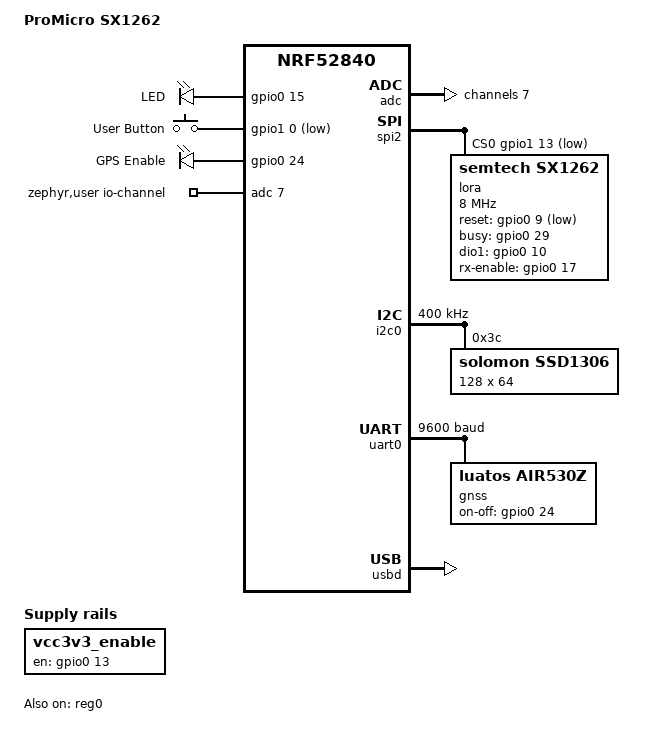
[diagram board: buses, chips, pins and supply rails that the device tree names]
/*
 * ProMicro SX1262 — nRF52840 SuperMini + SX1262 (generic; see board.conf)
 * Copyright (c) 2025 ZephCore
 *
 * SPDX-License-Identifier: MIT
 *
 * Hardware:
 * - nRF52840 (SuperMini/ProMicro form factor) with BLE 5
 * - SX1262 module: E22-900M30S (30dB PA) or a bare HT-RA62 / E22-900M22S;
 *   TCXO, DIO2=TXEN, RXEN on P0.17. TX power differs — see board.conf
 * - GPS module on UART0 (9600 baud, P0.22 RX, P0.20 TX)
 * - Battery ADC on AIN7 (P0.31), 150K+150K divider (2:1)
 * - User button on P1.00, LED on P0.15
 * - Optional SSD1306 128x64 OLED on I2C0 @ 0x3c (SDA P1.04, SCL P0.11)
 * - No 32.768 kHz crystal fitted — LFCLK runs the calibrated RC (&lfclk below;
 *   rationale in board.conf)
 * - 3V3 enable on P0.13 (must be HIGH for SX1262 to function)
 */

/dts-v1/;
#include <nordic/nrf52840_qiaa.dtsi>
#include "promicro_sx1262-pinctrl.dtsi"
#include <zephyr/dt-bindings/adc/nrf-saadc.h>
#include <zephyr/dt-bindings/input/input-event-codes.h>
#include <zephyr/dt-bindings/lora/sx126x.h>

/ {
	model = "ProMicro SX1262";
	compatible = "zephcore,promicro-sx1262";

	chosen {
		zephyr,sram = &sram0;
		zephyr,flash = &flash0;
		zephyr,code-partition = &code_partition;
		zephyr,console = &cdc_acm_uart;
		zephyr,shell-uart = &cdc_acm_uart;
		zephyr,display = &ssd1306;
	};

	aliases {
		lora0 = &lora;
		led0 = &led0;
		sw0 = &user_button;
		watchdog0 = &wdt0;
		gps-enable = &gps_enable_pin;
	};

	leds {
		compatible = "gpio-leds";
		led0: led_0 {
			gpios = <&gpio0 15 GPIO_ACTIVE_HIGH>;
			label = "LED";
		};
	};

	buttons: buttons {
		compatible = "gpio-keys";
		user_button: button_0 {
			gpios = <&gpio1 0 (GPIO_PULL_UP | GPIO_ACTIVE_LOW)>;
			zephyr,code = <INPUT_KEY_ENTER>;
			label = "User Button";
		};
	};

	/* 3V3 enable — must be HIGH to power E22-900M30S module */
	vcc3v3_enable: vcc3v3-enable {
		compatible = "regulator-fixed";
		regulator-name = "vcc3v3-enable";
		enable-gpios = <&gpio0 13 GPIO_ACTIVE_HIGH>;
		regulator-boot-on;
		/* Documents the module's requirement, but do not rely on it:
		 * regulator-boot-on sends regulator_common_init() down the
		 * refcount-only branch, so regulator_delay() never runs and this
		 * value is inert. The real settle time comes from the SX126x driver's
		 * own reset (5 ms NRESET pulse + 5 ms wait + BUSY poll) before any
		 * SPI traffic, at LORA_INIT_PRIORITY 90 against this rail's 75.
		 * Anything put behind this rail that does NOT reset-then-wait needs
		 * zephyr,deferred-init instead; see meshtracker_x1's i2c0. */
		startup-delay-us = <5000>;
	};

	/* GPS power control */
	gps_en: gps-enable {
		compatible = "gpio-leds";
		gps_enable_pin: gps_enable {
			gpios = <&gpio0 24 GPIO_ACTIVE_HIGH>;
			label = "GPS Enable";
		};
	};

	/* Battery ADC: P0.31 (AIN7), 2:1 voltage devider, 3.6V ref */
	zephyr,user {
		io-channels = <&adc 7>;
		vbat-mv-multiplier = <7236>;  /* 2:1 divider, 3.6V ref; +0.5% for nRF SAADC gain error */
	};
};

&reg0 {
	status = "okay";
};

&reg1 {
	regulator-initial-mode = <NRF5X_REG_MODE_DCDC>;
};

&uicr {
	nfct-pins-as-gpios;
};

&gpiote {
	status = "okay";
};

&gpio0 {
	status = "okay";
};

&gpio1 {
	status = "okay";
};

&adc {
	status = "okay";
	#address-cells = <1>;
	#size-cells = <0>;

	/* Battery voltage on P0.31 (AIN7) */
	channel@7 {
		reg = <7>;
		zephyr,gain = "ADC_GAIN_1_6";
		zephyr,reference = "ADC_REF_INTERNAL";
		zephyr,acquisition-time = <ADC_ACQ_TIME(ADC_ACQ_TIME_MICROSECONDS, 10)>;
		zephyr,input-positive = <NRF_SAADC_AIN7>;
		zephyr,resolution = <12>;
	};
};

/* ---- SPI2 for SX1262 (Ebyte E22-900M30S) ---- */
&spi2 {
	compatible = "nordic,nrf-spim";
	status = "okay";
	pinctrl-0 = <&spi2_default>;
	pinctrl-1 = <&spi2_sleep>;
	pinctrl-names = "default", "sleep";
	cs-gpios = <&gpio1 13 GPIO_ACTIVE_LOW>;   /* P1.13 SX1262_CS */

	lora: lora@0 {
		compatible = "semtech,sx1262";
		reg = <0>;
		spi-max-frequency = <8000000>;

		reset-gpios = <&gpio0  9 GPIO_ACTIVE_LOW>;
		busy-gpios  = <&gpio0 29 GPIO_ACTIVE_HIGH>;
		dio1-gpios  = <&gpio0 10 (GPIO_PULL_DOWN | GPIO_ACTIVE_HIGH)>;

		/* RF switch: DIO2 drives TXEN, RXEN on P0.17 */
		dio2-tx-enable;
		rx-enable-gpios = <&gpio0 17 GPIO_ACTIVE_HIGH>;

		/* E22-900M30S TCXO, 1.8V supply via DIO3 */
		dio3-tcxo-voltage = <SX126X_DIO3_TCXO_1V8>;
		tcxo-power-startup-delay-ms = <10>;

		/* RX boosted mode for better sensitivity */
		rx-boosted;
	};
};

/* ---- I2C0 for optional sensors ---- */
&i2c0 {
	compatible = "nordic,nrf-twim";
	status = "okay";
	clock-frequency = <I2C_BITRATE_FAST>;
	pinctrl-0 = <&i2c0_default>;
	pinctrl-1 = <&i2c0_sleep>;
	pinctrl-names = "default", "sleep";

	/*
	 * Required by the SSD1306 below, not an optimisation.
	 *
	 * The display driver flushes with i2c_burst_write_dt(): a 1-byte control
	 * message plus the whole 1024-byte framebuffer, no STOP between. TWIM is
	 * EasyDMA and needs one contiguous buffer, so both are copied into the
	 * concat buffer — which defaults to 16 bytes (nordic,nrf-twim.yaml). Every
	 * flush then fails with "(1 + 1024 > 16)" while the panel still ACKs its
	 * whole init sequence, so the logs say the display initialised and the
	 * screen stays dark. The binding is explicit that this property "must be
	 * provided when interacting with devices like the SSD1306 display".
	 *
	 * 1088 = 1 + 1024, rounded. Nothing else on this bus needs more: the
	 * sensors in sensors-i2c.dtsi all do short register transfers.
	 *
	 * Boards on the legacy "nordic,nrf-twi" driver (rak4631, gat562_30s) never
	 * hit this — it is not EasyDMA. But nRF52840's i2c0 defaults to
	 * "nordic,nrf-twim", which this node keeps, so this board does.
	 * lilygo_timpulse_plus sets 257 for the same reason, sized to its 64x32.
	 * An SH1106 (wio_tracker_l1) writes per page instead, so 1 + width is
	 * enough there.
	 *
	 * Found 2026-09-12 on seeed_lr2021_evk, whose display was dark for exactly
	 * this reason. This board's OLED was only described in the 1.17.5 draft, and this
	 * fix has NOT been confirmed on hardware here — no panel to hand.
	 */
	zephyr,concat-buf-size = <1088>;

	/* SSD1306 OLED — optional; absent panels fail device_is_ready() and are skipped */
	ssd1306: ssd1306@3c {
		compatible = "solomon,ssd1306";
		reg = <0x3c>;
		width = <128>;
		height = <64>;
		segment-offset = <0>;
		page-offset = <0>;
		display-offset = <0>;
		multiplex-ratio = <63>;
		segment-remap;
		com-invdir;
		prechargep = <0x22>;
	};

	/* All supported environment & power sensors — auto-detected at runtime */
	#include "../../common/sensors-i2c.dtsi"
};

/* ---- GPS on UART0 (9600 baud) ---- */
&uart0 {
	compatible = "nordic,nrf-uarte";
	status = "okay";
	current-speed = <9600>;
	pinctrl-0 = <&uart0_default>;
	pinctrl-1 = <&uart0_sleep>;
	pinctrl-names = "default", "sleep";

	gnss: gnss {
		compatible = "luatos,air530z";
		on-off-gpios = <&gpio0 24 GPIO_ACTIVE_HIGH>;
	};
};

/* ---- USB CDC for console/CLI ---- */
zephyr_udc0: &usbd {
	compatible = "nordic,nrf-usbd";
	status = "okay";

	cdc_acm_uart: cdc_acm_uart {
		compatible = "zephyr,cdc-acm-uart";
	};
};

/* ---- Flash partitions (SoftDevice v6, app@0x26000) ---- */
#include "../../common/nrf52_partitions_sdv6.dtsi"
#include "../../common/nrf52_wakeup.dtsi"

/*
 * 32.768 kHz source: calibrated RC — no LFXO is fitted (see board.conf for the
 * failure mode without this). 250 ppm is the accuracy the Adafruit core that
 * stock MeshCore builds on declares for the same calibrated RC on the same
 * silicon (NRF_CLOCK_LF_ACCURACY_250_PPM in Bluefruit52Lib), so the BLE central
 * sizes its receive windows identically on both firmwares; Zephyr's own RC
 * default on nRF52 would be 500.
 */
&lfclk {
	k32src = "rc";
	k32src-accuracy-ppm = <250>;
};
